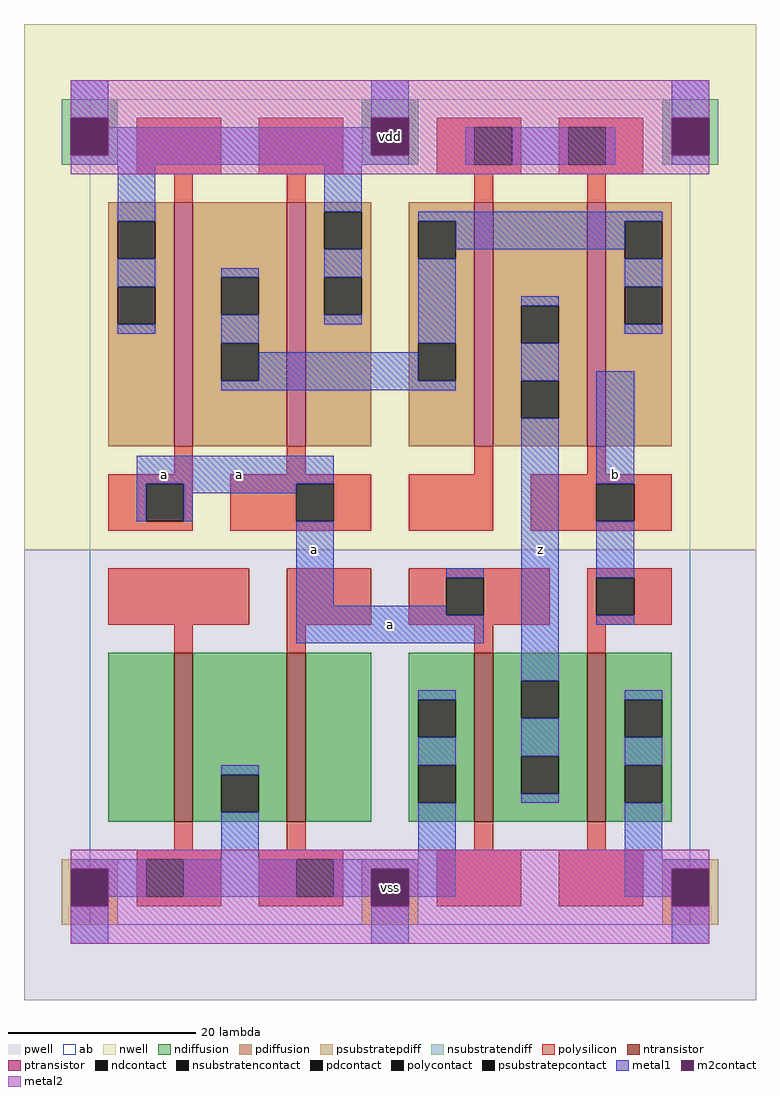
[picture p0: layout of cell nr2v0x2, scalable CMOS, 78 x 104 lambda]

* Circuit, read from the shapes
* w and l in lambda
.subckt nr2v0x2 a b vdd vss z
M1 vss vss n1 vss nfet w=18 l=2
M2 n2 vss vss vss nfet w=18 l=2
M3 z a vss vss nfet w=18 l=2
M4 vss b z vss nfet w=18 l=2
M5 n3 a vdd vdd pfet w=26 l=2 m=2
M6 z b n3 vdd pfet w=26 l=2 m=2
.ends

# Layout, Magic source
magic
tech scmos
<< ab >>
rect 0 0 64 88
<< pwell >>
rect -7 -8 71 40
<< nwell >>
rect -7 40 71 96
<< polysilicon >>
rect 5 80 14 86
rect 18 80 27 86
rect 37 85 46 86
rect 37 81 41 85
rect 45 81 46 85
rect 37 80 46 81
rect 50 85 59 86
rect 50 81 51 85
rect 55 81 59 85
rect 50 80 59 81
rect 9 77 11 80
rect 21 77 23 80
rect 41 77 43 80
rect 53 77 55 80
rect 9 48 11 51
rect 21 48 23 51
rect 41 48 43 51
rect 53 48 55 51
rect 2 47 11 48
rect 2 43 6 47
rect 10 43 11 47
rect 2 42 11 43
rect 15 47 30 48
rect 15 43 22 47
rect 26 43 30 47
rect 15 42 30 43
rect 34 42 43 48
rect 47 47 62 48
rect 47 43 54 47
rect 58 43 62 47
rect 47 42 62 43
rect 2 32 17 38
rect 21 32 30 38
rect 34 37 49 38
rect 34 33 38 37
rect 42 33 49 37
rect 34 32 49 33
rect 53 37 62 38
rect 53 33 54 37
rect 58 33 62 37
rect 53 32 62 33
rect 9 29 11 32
rect 21 29 23 32
rect 41 29 43 32
rect 53 29 55 32
rect 9 8 11 11
rect 21 8 23 11
rect 41 8 43 11
rect 53 8 55 11
rect 5 7 14 8
rect 5 3 6 7
rect 10 3 14 7
rect 5 2 14 3
rect 18 7 27 8
rect 18 3 22 7
rect 26 3 27 7
rect 18 2 27 3
rect 37 2 46 8
rect 50 2 59 8
<< ndiffusion >>
rect 2 11 9 29
rect 11 16 21 29
rect 11 12 14 16
rect 18 12 21 16
rect 11 11 21 12
rect 23 11 30 29
rect 34 24 41 29
rect 34 20 35 24
rect 39 20 41 24
rect 34 17 41 20
rect 34 13 35 17
rect 39 13 41 17
rect 34 11 41 13
rect 43 26 53 29
rect 43 22 46 26
rect 50 22 53 26
rect 43 18 53 22
rect 43 14 46 18
rect 50 14 53 18
rect 43 11 53 14
rect 55 24 62 29
rect 55 20 57 24
rect 61 20 62 24
rect 55 17 62 20
rect 55 13 57 17
rect 61 13 62 17
rect 55 11 62 13
<< pdiffusion >>
rect 2 75 9 77
rect 2 71 3 75
rect 7 71 9 75
rect 2 68 9 71
rect 2 64 3 68
rect 7 64 9 68
rect 2 51 9 64
rect 11 69 21 77
rect 11 65 14 69
rect 18 65 21 69
rect 11 62 21 65
rect 11 58 14 62
rect 18 58 21 62
rect 11 51 21 58
rect 23 76 30 77
rect 23 72 25 76
rect 29 72 30 76
rect 23 69 30 72
rect 23 65 25 69
rect 29 65 30 69
rect 23 51 30 65
rect 34 75 41 77
rect 34 71 35 75
rect 39 71 41 75
rect 34 62 41 71
rect 34 58 35 62
rect 39 58 41 62
rect 34 51 41 58
rect 43 66 53 77
rect 43 62 46 66
rect 50 62 53 66
rect 43 58 53 62
rect 43 54 46 58
rect 50 54 53 58
rect 43 51 53 54
rect 55 75 62 77
rect 55 71 57 75
rect 61 71 62 75
rect 55 68 62 71
rect 55 64 57 68
rect 61 64 62 68
rect 55 51 62 64
<< metal1 >>
rect -2 86 2 90
rect 30 86 34 90
rect 2 82 30 85
rect 62 86 66 90
rect -2 81 34 82
rect 40 81 41 85
rect 45 81 51 85
rect 55 81 56 85
rect 62 81 66 82
rect 3 75 7 81
rect 3 68 7 71
rect 25 76 29 81
rect 3 63 7 64
rect 14 69 18 70
rect 14 62 18 65
rect 25 69 29 72
rect 25 64 29 65
rect 35 75 61 76
rect 39 72 57 75
rect 35 62 39 71
rect 57 68 61 71
rect 18 58 35 61
rect 14 57 39 58
rect 46 66 50 67
rect 57 63 61 64
rect 46 58 50 62
rect 5 47 26 50
rect 5 43 6 47
rect 10 46 22 47
rect 10 43 11 46
rect 22 34 26 43
rect 38 37 42 38
rect 22 33 38 34
rect 22 30 42 33
rect 46 26 50 54
rect 54 47 58 59
rect 54 37 58 43
rect 54 32 58 33
rect 35 24 39 25
rect 35 17 39 20
rect 14 16 18 17
rect 14 7 18 12
rect 46 18 50 22
rect 46 13 50 14
rect 57 24 61 25
rect 57 17 61 20
rect 35 7 39 13
rect -2 6 6 7
rect 2 3 6 6
rect 10 3 22 7
rect 26 6 39 7
rect 26 3 30 6
rect -2 -2 2 2
rect 34 3 39 6
rect 57 7 61 13
rect 57 6 66 7
rect 57 3 62 6
rect 30 -2 34 2
rect 62 -2 66 2
<< metal2 >>
rect -2 86 66 90
rect 2 82 30 86
rect 34 82 62 86
rect -2 80 66 82
rect -2 6 66 8
rect 2 2 30 6
rect 34 2 62 6
rect -2 -2 66 2
<< ntransistor >>
rect 9 11 11 29
rect 21 11 23 29
rect 41 11 43 29
rect 53 11 55 29
<< ptransistor >>
rect 9 51 11 77
rect 21 51 23 77
rect 41 51 43 77
rect 53 51 55 77
<< polycontact >>
rect 41 81 45 85
rect 51 81 55 85
rect 6 43 10 47
rect 22 43 26 47
rect 54 43 58 47
rect 38 33 42 37
rect 54 33 58 37
rect 6 3 10 7
rect 22 3 26 7
<< ndcontact >>
rect 14 12 18 16
rect 35 20 39 24
rect 35 13 39 17
rect 46 22 50 26
rect 46 14 50 18
rect 57 20 61 24
rect 57 13 61 17
<< pdcontact >>
rect 3 71 7 75
rect 3 64 7 68
rect 14 65 18 69
rect 14 58 18 62
rect 25 72 29 76
rect 25 65 29 69
rect 35 71 39 75
rect 35 58 39 62
rect 46 62 50 66
rect 46 54 50 58
rect 57 71 61 75
rect 57 64 61 68
<< m2contact >>
rect -2 82 2 86
rect 30 82 34 86
rect 62 82 66 86
rect -2 2 2 6
rect 30 2 34 6
rect 62 2 66 6
<< psubstratepcontact >>
rect -2 2 2 6
rect 30 2 34 6
rect 62 2 66 6
<< nsubstratencontact >>
rect -2 82 2 86
rect 30 82 34 86
rect 62 82 66 86
<< psubstratepdiff >>
rect -3 6 3 7
rect -3 2 -2 6
rect 2 2 3 6
rect 29 6 35 7
rect 29 2 30 6
rect 34 2 35 6
rect 61 6 67 7
rect 61 2 62 6
rect 66 2 67 6
rect -3 0 3 2
rect 29 0 35 2
rect 61 0 67 2
<< nsubstratendiff >>
rect -3 86 3 88
rect 29 86 35 88
rect 61 86 67 88
rect -3 82 -2 86
rect 2 82 3 86
rect -3 81 3 82
rect 29 82 30 86
rect 34 82 35 86
rect 29 81 35 82
rect 61 82 62 86
rect 66 82 67 86
rect 61 81 67 82
<< labels >>
rlabel metal1 8 48 8 48 6 a
rlabel metal1 16 48 16 48 6 a
rlabel metal1 32 32 32 32 6 a
rlabel metal1 24 40 24 40 6 a
rlabel metal1 48 40 48 40 6 z
rlabel metal1 56 48 56 48 6 b
rlabel m2contact 32 4 32 4 6 vss
rlabel m2contact 32 84 32 84 6 vdd
<< end >>
